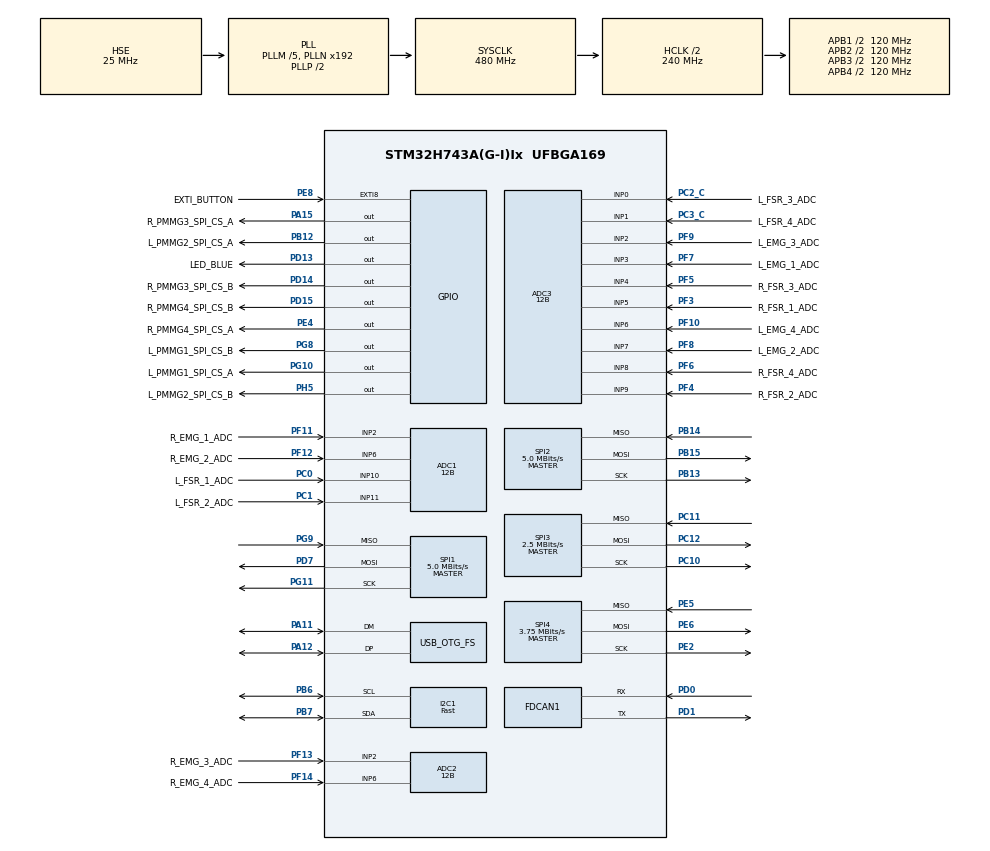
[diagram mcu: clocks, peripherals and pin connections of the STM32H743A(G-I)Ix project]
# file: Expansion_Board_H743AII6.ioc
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ADC1.Channel-1\#ChannelRegularConversion=ADC_CHANNEL_2
ADC1.Channel-2\#ChannelRegularConversion=ADC_CHANNEL_6
ADC1.Channel-3\#ChannelRegularConversion=ADC_CHANNEL_10
ADC1.Channel-4\#ChannelRegularConversion=ADC_CHANNEL_11
ADC1.ClockPrescaler=ADC_CLOCK_ASYNC_DIV16
ADC1.ClockPrescalerADC3=ADC_CLOCK_ASYNC_DIV16
ADC1.ContinuousConvMode=ENABLE
ADC1.ConversionDataManagement=ADC_CONVERSIONDATA_DMA_CIRCULAR
ADC1.EOCSelection=ADC_EOC_SEQ_CONV
ADC1.NbrOfConversion=4
ADC1.NbrOfConversionFlag=1
ADC1.OffsetNumber-1\#ChannelRegularConversion=ADC_OFFSET_NONE
ADC1.OffsetNumber-2\#ChannelRegularConversion=ADC_OFFSET_NONE
ADC1.OffsetNumber-3\#ChannelRegularConversion=ADC_OFFSET_NONE
ADC1.OffsetNumber-4\#ChannelRegularConversion=ADC_OFFSET_NONE
ADC1.OffsetSignedSaturation-1\#ChannelRegularConversion=DISABLE
ADC1.Rank-1\#ChannelRegularConversion=1
ADC1.Rank-2\#ChannelRegularConversion=2
ADC1.Rank-3\#ChannelRegularConversion=3
ADC1.Rank-4\#ChannelRegularConversion=4
ADC1.Resolution=ADC_RESOLUTION_12B
ADC1.SamplingTime-1\#ChannelRegularConversion=ADC_SAMPLETIME_32CYCLES_5
ADC1.SamplingTime-2\#ChannelRegularConversion=ADC_SAMPLETIME_32CYCLES_5
ADC1.SamplingTime-3\#ChannelRegularConversion=ADC_SAMPLETIME_32CYCLES_5
ADC1.SamplingTime-4\#ChannelRegularConversion=ADC_SAMPLETIME_32CYCLES_5
ADC1.master=1
ADC2.Channel-0\#ChannelRegularConversion=ADC_CHANNEL_2
ADC2.Channel-1\#ChannelRegularConversion=ADC_CHANNEL_6
ADC2.ClockPrescaler=ADC_CLOCK_ASYNC_DIV16
ADC2.ClockPrescalerADC3=ADC_CLOCK_ASYNC_DIV16
ADC2.ContinuousConvMode=ENABLE
ADC2.ConversionDataManagement=ADC_CONVERSIONDATA_DMA_CIRCULAR
ADC2.EOCSelection=ADC_EOC_SEQ_CONV
ADC2.NbrOfConversion=2
ADC2.NbrOfConversionFlag=1
ADC2.OffsetNumber-0\#ChannelRegularConversion=ADC_OFFSET_NONE
ADC2.OffsetNumber-1\#ChannelRegularConversion=ADC_OFFSET_NONE
ADC2.OffsetSignedSaturation-0\#ChannelRegularConversion=DISABLE
ADC2.Rank-0\#ChannelRegularConversion=1
ADC2.Rank-1\#ChannelRegularConversion=2
ADC2.Resolution=ADC_RESOLUTION_12B
ADC2.SamplingTime-0\#ChannelRegularConversion=ADC_SAMPLETIME_32CYCLES_5
ADC2.SamplingTime-1\#ChannelRegularConversion=ADC_SAMPLETIME_32CYCLES_5
ADC3.Channel-0\#ChannelRegularConversion=ADC_CHANNEL_0
ADC3.Channel-1\#ChannelRegularConversion=ADC_CHANNEL_1
ADC3.Channel-2\#ChannelRegularConversion=ADC_CHANNEL_2
ADC3.Channel-3\#ChannelRegularConversion=ADC_CHANNEL_3
ADC3.Channel-4\#ChannelRegularConversion=ADC_CHANNEL_4
ADC3.Channel-5\#ChannelRegularConversion=ADC_CHANNEL_5
ADC3.Channel-6\#ChannelRegularConversion=ADC_CHANNEL_6
ADC3.Channel-7\#ChannelRegularConversion=ADC_CHANNEL_7
ADC3.Channel-8\#ChannelRegularConversion=ADC_CHANNEL_8
ADC3.Channel-9\#ChannelRegularConversion=ADC_CHANNEL_9
ADC3.ClockPrescaler=ADC_CLOCK_ASYNC_DIV16
ADC3.ClockPrescalerADC3=ADC_CLOCK_ASYNC_DIV16
ADC3.ContinuousConvMode=ENABLE
ADC3.ConversionDataManagement=ADC_CONVERSIONDATA_DMA_CIRCULAR
ADC3.EOCSelection=ADC_EOC_SEQ_CONV
ADC3.NbrOfConversion=10
ADC3.NbrOfConversionFlag=1
ADC3.OffsetNumber-0\#ChannelRegularConversion=ADC_OFFSET_NONE
ADC3.OffsetNumber-1\#ChannelRegularConversion=ADC_OFFSET_NONE
ADC3.OffsetNumber-2\#ChannelRegularConversion=ADC_OFFSET_NONE
ADC3.OffsetNumber-3\#ChannelRegularConversion=ADC_OFFSET_NONE
ADC3.OffsetNumber-4\#ChannelRegularConversion=ADC_OFFSET_NONE
ADC3.OffsetNumber-5\#ChannelRegularConversion=ADC_OFFSET_NONE
ADC3.OffsetNumber-6\#ChannelRegularConversion=ADC_OFFSET_NONE
ADC3.OffsetNumber-7\#ChannelRegularConversion=ADC_OFFSET_NONE
ADC3.OffsetNumber-8\#ChannelRegularConversion=ADC_OFFSET_NONE
ADC3.OffsetNumber-9\#ChannelRegularConversion=ADC_OFFSET_NONE
ADC3.OffsetSignedSaturation-0\#ChannelRegularConversion=DISABLE
ADC3.Rank-0\#ChannelRegularConversion=1
ADC3.Rank-1\#ChannelRegularConversion=2
ADC3.Rank-2\#ChannelRegularConversion=3
ADC3.Rank-3\#ChannelRegularConversion=4
ADC3.Rank-4\#ChannelRegularConversion=5
ADC3.Rank-5\#ChannelRegularConversion=6
ADC3.Rank-6\#ChannelRegularConversion=7
ADC3.Rank-7\#ChannelRegularConversion=8
ADC3.Rank-8\#ChannelRegularConversion=9
ADC3.Rank-9\#ChannelRegularConversion=10
ADC3.Resolution=ADC_RESOLUTION_12B
ADC3.SamplingTime-0\#ChannelRegularConversion=ADC_SAMPLETIME_32CYCLES_5
ADC3.SamplingTime-1\#ChannelRegularConversion=ADC_SAMPLETIME_32CYCLES_5
ADC3.SamplingTime-2\#ChannelRegularConversion=ADC_SAMPLETIME_32CYCLES_5
ADC3.SamplingTime-3\#ChannelRegularConversion=ADC_SAMPLETIME_32CYCLES_5
ADC3.SamplingTime-4\#ChannelRegularConversion=ADC_SAMPLETIME_32CYCLES_5
ADC3.SamplingTime-5\#ChannelRegularConversion=ADC_SAMPLETIME_32CYCLES_5
ADC3.SamplingTime-6\#ChannelRegularConversion=ADC_SAMPLETIME_32CYCLES_5
ADC3.SamplingTime-7\#ChannelRegularConversion=ADC_SAMPLETIME_32CYCLES_5
ADC3.SamplingTime-8\#ChannelRegularConversion=ADC_SAMPLETIME_32CYCLES_5
ADC3.SamplingTime-9\#ChannelRegularConversion=ADC_SAMPLETIME_32CYCLES_5
CORTEX_M7.AccessPermission-Cortex_Memory_Protection_Unit_Region0_Settings=MPU_REGION_FULL_ACCESS
CORTEX_M7.BaseAddress-Cortex_Memory_Protection_Unit_Region0_Settings=0x30000000
CORTEX_M7.CPU_DCache=Enabled
CORTEX_M7.CPU_ICache=Enabled
CORTEX_M7.DisableExec-Cortex_Memory_Protection_Unit_Region0_Settings=MPU_INSTRUCTION_ACCESS_DISABLE
CORTEX_M7.Enable-Cortex_Memory_Protection_Unit_Region0_Settings=MPU_REGION_ENABLE
CORTEX_M7.IsShareable-Cortex_Memory_Protection_Unit_Region0_Settings=MPU_ACCESS_SHAREABLE
CORTEX_M7.MPU_Control=MPU_PRIVILEGED_DEFAULT
CORTEX_M7.Size-Cortex_Memory_Protection_Unit_Region0_Settings=MPU_REGION_SIZE_32KB
CORTEX_M7.TypeExtField-Cortex_Memory_Protection_Unit_Region0_Settings=MPU_TEX_LEVEL1
Dma.ADC1.0.Direction=DMA_PERIPH_TO_MEMORY
Dma.ADC1.0.EventEnable=DISABLE
Dma.ADC1.0.FIFOMode=DMA_FIFOMODE_DISABLE
Dma.ADC1.0.Instance=DMA1_Stream0
Dma.ADC1.0.MemDataAlignment=DMA_MDATAALIGN_HALFWORD
Dma.ADC1.0.MemInc=DMA_MINC_ENABLE
Dma.ADC1.0.Mode=DMA_CIRCULAR
Dma.ADC1.0.PeriphDataAlignment=DMA_PDATAALIGN_HALFWORD
Dma.ADC1.0.PeriphInc=DMA_PINC_DISABLE
Dma.ADC1.0.Polarity=HAL_DMAMUX_REQ_GEN_RISING
Dma.ADC1.0.Priority=DMA_PRIORITY_LOW
Dma.ADC1.0.RequestNumber=1
Dma.ADC1.0.SignalID=NONE
Dma.ADC1.0.SyncEnable=DISABLE
Dma.ADC1.0.SyncPolarity=HAL_DMAMUX_SYNC_NO_EVENT
Dma.ADC1.0.SyncRequestNumber=1
Dma.ADC1.0.SyncSignalID=NONE
Dma.ADC2.2.Direction=DMA_PERIPH_TO_MEMORY
Dma.ADC2.2.EventEnable=DISABLE
Dma.ADC2.2.FIFOMode=DMA_FIFOMODE_DISABLE
Dma.ADC2.2.Instance=DMA1_Stream2
Dma.ADC2.2.MemDataAlignment=DMA_MDATAALIGN_HALFWORD
Dma.ADC2.2.MemInc=DMA_MINC_ENABLE
Dma.ADC2.2.Mode=DMA_CIRCULAR
Dma.ADC2.2.PeriphDataAlignment=DMA_PDATAALIGN_HALFWORD
Dma.ADC2.2.PeriphInc=DMA_PINC_DISABLE
Dma.ADC2.2.Polarity=HAL_DMAMUX_REQ_GEN_RISING
Dma.ADC2.2.Priority=DMA_PRIORITY_LOW
Dma.ADC2.2.RequestNumber=1
Dma.ADC2.2.SignalID=NONE
Dma.ADC2.2.SyncEnable=DISABLE
Dma.ADC2.2.SyncPolarity=HAL_DMAMUX_SYNC_NO_EVENT
Dma.ADC2.2.SyncRequestNumber=1
Dma.ADC2.2.SyncSignalID=NONE
Dma.ADC3.3.Direction=DMA_PERIPH_TO_MEMORY
Dma.ADC3.3.EventEnable=DISABLE
Dma.ADC3.3.FIFOMode=DMA_FIFOMODE_DISABLE
Dma.ADC3.3.Instance=DMA2_Stream0
Dma.ADC3.3.MemDataAlignment=DMA_MDATAALIGN_HALFWORD
Dma.ADC3.3.MemInc=DMA_MINC_ENABLE
Dma.ADC3.3.Mode=DMA_CIRCULAR
Dma.ADC3.3.PeriphDataAlignment=DMA_PDATAALIGN_HALFWORD
Dma.ADC3.3.PeriphInc=DMA_PINC_DISABLE
Dma.ADC3.3.Polarity=HAL_DMAMUX_REQ_GEN_RISING
Dma.ADC3.3.Priority=DMA_PRIORITY_LOW
Dma.ADC3.3.RequestNumber=1
Dma.ADC3.3.SignalID=NONE
Dma.ADC3.3.SyncEnable=DISABLE
Dma.ADC3.3.SyncPolarity=HAL_DMAMUX_SYNC_NO_EVENT
Dma.ADC3.3.SyncRequestNumber=1
Dma.ADC3.3.SyncSignalID=NONE
Dma.I2C1_RX.1.Direction=DMA_PERIPH_TO_MEMORY
Dma.I2C1_RX.1.EventEnable=DISABLE
Dma.I2C1_RX.1.FIFOMode=DMA_FIFOMODE_DISABLE
Dma.I2C1_RX.1.Instance=DMA1_Stream1
Dma.I2C1_RX.1.MemDataAlignment=DMA_MDATAALIGN_BYTE
Dma.I2C1_RX.1.MemInc=DMA_MINC_ENABLE
Dma.I2C1_RX.1.Mode=DMA_NORMAL
Dma.I2C1_RX.1.PeriphDataAlignment=DMA_PDATAALIGN_BYTE
Dma.I2C1_RX.1.PeriphInc=DMA_PINC_DISABLE
Dma.I2C1_RX.1.Polarity=HAL_DMAMUX_REQ_GEN_RISING
Dma.I2C1_RX.1.Priority=DMA_PRIORITY_LOW
Dma.I2C1_RX.1.RequestNumber=1
Dma.I2C1_RX.1.SignalID=NONE
Dma.I2C1_RX.1.SyncEnable=DISABLE
Dma.I2C1_RX.1.SyncPolarity=HAL_DMAMUX_SYNC_NO_EVENT
Dma.I2C1_RX.1.SyncRequestNumber=1
Dma.I2C1_RX.1.SyncSignalID=NONE
Dma.Request0=ADC1
Dma.Request1=I2C1_RX
Dma.Request2=ADC2
Dma.Request3=ADC3
FDCAN1.AutoRetransmission=ENABLE
FDCAN1.CalculateBaudRateNominal=1000000
FDCAN1.CalculateTimeBitNominal=1000
FDCAN1.CalculateTimeQuantumNominal=125.0
FDCAN1.DataPrescaler=1
FDCAN1.DataSyncJumpWidth=4
FDCAN1.DataTimeSeg1=11
FDCAN1.DataTimeSeg2=4
FDCAN1.FrameFormat=FDCAN_FRAME_FD_BRS
FDCAN1.NominalPrescaler=10
FDCAN1.NominalSyncJumpWidth=2
FDCAN1.NominalTimeSeg1=5
FDCAN1.NominalTimeSeg2=2
FDCAN1.RxBufferSize=FDCAN_DATA_BYTES_64
FDCAN1.RxBuffersNbr=4
FDCAN1.RxFifo0ElmtSize=FDCAN_DATA_BYTES_64
FDCAN1.RxFifo0ElmtsNbr=4
FDCAN1.RxFifo1ElmtSize=FDCAN_DATA_BYTES_64
FDCAN1.RxFifo1ElmtsNbr=4
FDCAN1.StdFiltersNbr=1
FDCAN1.TransmitPause=ENABLE
FDCAN1.TxBuffersNbr=4
FDCAN1.TxElmtSize=FDCAN_DATA_BYTES_64
FDCAN1.TxEventsNbr=4
FDCAN1.TxFifoQueueElmtsNbr=16
FDCAN1.TxFifoQueueMode=FDCAN_TX_QUEUE_OPERATION
I2C1.I2C_Speed_Mode=I2C_Fast
I2C1.Timing=0x00B03FDB
Mcu.Family=STM32H7
Mcu.Name=STM32H743A(G-I)Ix
Mcu.Package=UFBGA169
NVIC.DMA1_Stream0_IRQn=true\:3\:0\:true\:false\:true\:false\:true\:true
NVIC.DMA1_Stream1_IRQn=true\:3\:0\:true\:false\:true\:false\:true\:true
NVIC.DMA1_Stream2_IRQn=true\:3\:0\:true\:false\:true\:false\:true\:true
NVIC.DMA2_Stream0_IRQn=true\:3\:0\:true\:false\:true\:false\:true\:true
NVIC.EXTI9_5_IRQn=true\:0\:0\:true\:false\:true\:true\:true\:true
NVIC.FDCAN1_IT0_IRQn=true\:0\:0\:false\:false\:true\:true\:true\:true
NVIC.FDCAN1_IT1_IRQn=true\:0\:0\:false\:false\:true\:true\:true\:true
NVIC.FDCAN_CAL_IRQn=true\:14\:0\:true\:false\:true\:true\:true\:true
NVIC.I2C1_EV_IRQn=true\:5\:0\:true\:false\:true\:true\:true\:true
NVIC.OTG_FS_IRQn=true\:0\:0\:false\:false\:true\:false\:true\:true
NVIC.PriorityGroup=NVIC_PRIORITYGROUP_4
NVIC.SPI1_IRQn=true\:1\:0\:true\:false\:true\:true\:true\:true
NVIC.SPI2_IRQn=true\:1\:0\:true\:false\:true\:true\:true\:true
NVIC.SPI3_IRQn=true\:1\:0\:true\:false\:true\:true\:true\:true
NVIC.SPI4_IRQn=true\:1\:0\:true\:false\:true\:true\:true\:true
NVIC.TIM2_IRQn=true\:2\:0\:true\:false\:true\:true\:true\:true
NVIC.TIM3_IRQn=true\:4\:0\:true\:false\:true\:true\:true\:true
NVIC.TIM6_DAC_IRQn=true\:4\:0\:true\:false\:true\:true\:true\:true
PA11.Mode=Device_Only
PA11.Signal=USB_OTG_FS_DM
PA12.Mode=Device_Only
PA12.Signal=USB_OTG_FS_DP
PA15\ (JTDI).GPIO_Label=R_PMMG3_SPI_CS_A
PA15\ (JTDI).GPIO_PuPd=GPIO_PULLUP
PA15\ (JTDI).GPIO_Speed=GPIO_SPEED_FREQ_HIGH
PA15\ (JTDI).PinState=GPIO_PIN_SET
PA15\ (JTDI).Signal=GPIO_Output
PB12.GPIO_Label=L_PMMG2_SPI_CS_A
PB12.GPIO_PuPd=GPIO_PULLUP
PB12.GPIO_Speed=GPIO_SPEED_FREQ_HIGH
PB12.PinState=GPIO_PIN_SET
PB12.Signal=GPIO_Output
PB13.Mode=Full_Duplex_Master
PB13.Signal=SPI2_SCK
PB14.Mode=Full_Duplex_Master
PB14.Signal=SPI2_MISO
PB15.Mode=Full_Duplex_Master
PB15.Signal=SPI2_MOSI
PB6.Mode=I2C
PB6.Signal=I2C1_SCL
PB7.Mode=I2C
PB7.Signal=I2C1_SDA
PC0.GPIO_Label=L_FSR_1_ADC
PC0.Signal=ADCx_INP10
PC1.GPIO_Label=L_FSR_2_ADC
PC1.Signal=ADCx_INP11
PC10.Mode=Full_Duplex_Master
PC10.Signal=SPI3_SCK
PC11.Mode=Full_Duplex_Master
PC11.Signal=SPI3_MISO
PC12.Mode=Full_Duplex_Master
PC12.Signal=SPI3_MOSI
PC14-OSC32_IN\ (OSC32_IN).Mode=LSE-External-Oscillator
PC14-OSC32_IN\ (OSC32_IN).Signal=RCC_OSC32_IN
PC15-OSC32_OUT\ (OSC32_OUT).Mode=LSE-External-Oscillator
PC15-OSC32_OUT\ (OSC32_OUT).Signal=RCC_OSC32_OUT
PC2_C.GPIO_Label=L_FSR_3_ADC
PC2_C.Mode=IN0-Single-Ended
PC2_C.Signal=ADC3_INP0
PC3_C.GPIO_Label=L_FSR_4_ADC
PC3_C.Mode=IN1-Single-Ended
PC3_C.Signal=ADC3_INP1
PD0.Mode=FDCAN_Activate
PD0.Signal=FDCAN1_RX
PD1.Mode=FDCAN_Activate
PD1.Signal=FDCAN1_TX
PD13.GPIO_Label=LED_BLUE
PD13.GPIO_PuPd=GPIO_NOPULL
PD13.GPIO_Speed=GPIO_SPEED_FREQ_LOW
PD13.PinState=GPIO_PIN_RESET
PD13.Signal=GPIO_Output
PD14.GPIO_Label=R_PMMG3_SPI_CS_B
PD14.GPIO_PuPd=GPIO_PULLUP
PD14.GPIO_Speed=GPIO_SPEED_FREQ_HIGH
PD14.PinState=GPIO_PIN_SET
PD14.Signal=GPIO_Output
PD15.GPIO_Label=R_PMMG4_SPI_CS_B
PD15.GPIO_PuPd=GPIO_PULLUP
PD15.GPIO_Speed=GPIO_SPEED_FREQ_HIGH
PD15.PinState=GPIO_PIN_SET
PD15.Signal=GPIO_Output
PD7.GPIO_Mode=GPIO_MODE_AF_PP
PD7.GPIO_PuPd=GPIO_NOPULL
PD7.GPIO_Speed=GPIO_SPEED_FREQ_LOW
PD7.Mode=Full_Duplex_Master
PD7.Signal=SPI1_MOSI
PE2.Mode=Full_Duplex_Master
PE2.Signal=SPI4_SCK
PE4.GPIO_Label=R_PMMG4_SPI_CS_A
PE4.GPIO_PuPd=GPIO_PULLUP
PE4.GPIO_Speed=GPIO_SPEED_FREQ_HIGH
PE4.PinState=GPIO_PIN_SET
PE4.Signal=GPIO_Output
PE5.Mode=Full_Duplex_Master
PE5.Signal=SPI4_MISO
PE6.Mode=Full_Duplex_Master
PE6.Signal=SPI4_MOSI
PE8.GPIO_Label=EXTI_BUTTON
PE8.GPIO_ModeDefaultEXTI=GPIO_MODE_IT_RISING
PE8.GPIO_PuPd=GPIO_NOPULL
PE8.Signal=GPXTI8
PF10.GPIO_Label=L_EMG_4_ADC
PF10.Mode=IN6-Single-Ended
PF10.Signal=ADC3_INP6
PF11.GPIO_Label=R_EMG_1_ADC
PF11.Mode=IN2-Single-Ended
PF11.Signal=ADC1_INP2
PF12.GPIO_Label=R_EMG_2_ADC
PF12.Mode=IN6-Single-Ended
PF12.Signal=ADC1_INP6
PF13.GPIO_Label=R_EMG_3_ADC
PF13.Mode=IN2-Single-Ended
PF13.Signal=ADC2_INP2
PF14.GPIO_Label=R_EMG_4_ADC
PF14.Mode=IN6-Single-Ended
PF14.Signal=ADC2_INP6
PF3.GPIO_Label=R_FSR_1_ADC
PF3.Mode=IN5-Single-Ended
PF3.Signal=ADC3_INP5
PF4.GPIO_Label=R_FSR_2_ADC
PF4.Mode=IN9-Single-Ended
PF4.Signal=ADC3_INP9
PF5.GPIO_Label=R_FSR_3_ADC
PF5.Mode=IN4-Single-Ended
PF5.Signal=ADC3_INP4
PF6.GPIO_Label=R_FSR_4_ADC
PF6.Mode=IN8-Single-Ended
PF6.Signal=ADC3_INP8
PF7.GPIO_Label=L_EMG_1_ADC
PF7.Mode=IN3-Single-Ended
PF7.Signal=ADC3_INP3
PF8.GPIO_Label=L_EMG_2_ADC
PF8.Mode=IN7-Single-Ended
PF8.Signal=ADC3_INP7
PF9.GPIO_Label=L_EMG_3_ADC
PF9.Mode=IN2-Single-Ended
PF9.Signal=ADC3_INP2
PG10.GPIO_Label=L_PMMG1_SPI_CS_A
PG10.GPIO_PuPd=GPIO_PULLUP
PG10.GPIO_Speed=GPIO_SPEED_FREQ_HIGH
PG10.PinState=GPIO_PIN_SET
PG10.Signal=GPIO_Output
PG11.GPIO_Mode=GPIO_MODE_AF_PP
PG11.GPIO_PuPd=GPIO_NOPULL
PG11.GPIO_Speed=GPIO_SPEED_FREQ_LOW
PG11.Mode=Full_Duplex_Master
PG11.Signal=SPI1_SCK
PG8.GPIO_Label=L_PMMG1_SPI_CS_B
PG8.GPIO_PuPd=GPIO_PULLUP
PG8.GPIO_Speed=GPIO_SPEED_FREQ_HIGH
PG8.PinState=GPIO_PIN_SET
PG8.Signal=GPIO_Output
PG9.GPIO_Mode=GPIO_MODE_AF_PP
PG9.GPIO_PuPd=GPIO_NOPULL
PG9.GPIO_Speed=GPIO_SPEED_FREQ_LOW
PG9.Mode=Full_Duplex_Master
PG9.Signal=SPI1_MISO
PH0-OSC_IN\ (PH0).Mode=HSE-External-Oscillator
PH0-OSC_IN\ (PH0).Signal=RCC_OSC_IN
PH1-OSC_OUT\ (PH1).Mode=HSE-External-Oscillator
PH1-OSC_OUT\ (PH1).Signal=RCC_OSC_OUT
PH5.GPIO_Label=L_PMMG2_SPI_CS_B
PH5.GPIO_PuPd=GPIO_PULLUP
PH5.GPIO_Speed=GPIO_SPEED_FREQ_HIGH
PH5.PinState=GPIO_PIN_SET
PH5.Signal=GPIO_Output
ProjectManager.HeapSize=0x200
ProjectManager.StackSize=0x400
ProjectManager.TargetToolchain=STM32CubeIDE
RCC.ADCFreq_Value=80000000
RCC.APB1Freq_Value=120000000
RCC.APB2Freq_Value=120000000
RCC.APB3Freq_Value=120000000
RCC.APB4Freq_Value=120000000
RCC.CKPERSourceSelection=RCC_CLKPSOURCE_HSE
RCC.CortexFreq_Value=480000000
RCC.D1PPRE=RCC_APB3_DIV2
RCC.D2PPRE1=RCC_APB1_DIV2
RCC.D2PPRE2=RCC_APB2_DIV2
RCC.D3PPRE=RCC_APB4_DIV2
RCC.DIVM1=5
RCC.DIVM2=5
RCC.DIVM3=5
RCC.DIVN1=192
RCC.DIVN2=80
RCC.DIVN3=192
RCC.DIVP2=5
RCC.DIVP3=5
RCC.DIVQ1=12
RCC.DIVQ3=20
RCC.DIVR3=10
RCC.HCLKFreq_Value=240000000
RCC.HPRE=RCC_HCLK_DIV2
RCC.PLLSourceVirtual=RCC_PLLSOURCE_HSE
RCC.PWR_Regulator_Voltage_Scale=PWR_REGULATOR_VOLTAGE_SCALE0
RCC.SYSCLKFreq_VALUE=480000000
RCC.SYSCLKSource=RCC_SYSCLKSOURCE_PLLCLK
RCC.USBCLockSelection=RCC_USBCLKSOURCE_HSI48
RCC.USBFreq_Value=48000000
SH.ADCx_INP10.0=ADC1_INP10,IN10-Single-Ended
SH.ADCx_INP11.0=ADC1_INP11,IN11-Single-Ended
SPI1.BaudRatePrescaler=SPI_BAUDRATEPRESCALER_16
SPI1.CalculateBaudRate=5.0 MBits/s
SPI1.DataSize=SPI_DATASIZE_8BIT
SPI1.Direction=SPI_DIRECTION_2LINES
SPI1.Mode=SPI_MODE_MASTER
SPI1.VirtualType=VM_MASTER
SPI2.BaudRatePrescaler=SPI_BAUDRATEPRESCALER_16
SPI2.CalculateBaudRate=5.0 MBits/s
SPI2.DataSize=SPI_DATASIZE_8BIT
SPI2.Direction=SPI_DIRECTION_2LINES
SPI2.Mode=SPI_MODE_MASTER
SPI2.VirtualType=VM_MASTER
SPI3.BaudRatePrescaler=SPI_BAUDRATEPRESCALER_32
SPI3.CalculateBaudRate=2.5 MBits/s
SPI3.DataSize=SPI_DATASIZE_8BIT
SPI3.Direction=SPI_DIRECTION_2LINES
SPI3.Mode=SPI_MODE_MASTER
SPI3.VirtualType=VM_MASTER
SPI4.BaudRatePrescaler=SPI_BAUDRATEPRESCALER_32
SPI4.CalculateBaudRate=3.75 MBits/s
SPI4.DataSize=SPI_DATASIZE_8BIT
SPI4.Direction=SPI_DIRECTION_2LINES
SPI4.Mode=SPI_MODE_MASTER
SPI4.VirtualType=VM_MASTER
TIM2.AutoReloadPreload=TIM_AUTORELOAD_PRELOAD_ENABLE
TIM2.Period=1000-1
TIM2.Prescaler=240-1
TIM3.AutoReloadPreload=TIM_AUTORELOAD_PRELOAD_ENABLE
TIM3.Period=1000-1
TIM3.Prescaler=240-1
TIM6.AutoReloadPreload=TIM_AUTORELOAD_PRELOAD_ENABLE
TIM6.Period=1000-1
TIM6.Prescaler=240-1
USB_DEVICE.CLASS_NAME_FS=CDC
USB_DEVICE.VirtualMode-CDC_FS=Cdc
USB_DEVICE.VirtualModeFS=Cdc_FS
USB_OTG_FS.VirtualMode=Device_Only
VP_TIM2_VS_ClockSourceINT.Mode=Internal
VP_TIM3_VS_ClockSourceINT.Mode=Internal
VP_TIM6_VS_ClockSourceINT.Mode=Enable_Timer
VP_USB_DEVICE_VS_USB_DEVICE_CDC_FS.Mode=CDC_FS
board=custom

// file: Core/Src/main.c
/* USER CODE BEGIN Header */
/**
  ******************************************************************************
  * @file           : main.c
  * @brief          : Main program body
  ******************************************************************************
  * @attention
  *
  * Copyright (c) 2024 STMicroelectronics.
  * All rights reserved.
  *
  * This software is licensed under terms that can be found in the LICENSE file
  * in the root directory of this software component.
  * If no LICENSE file comes with this software, it is provided AS-IS.
  *
  ******************************************************************************
  */
/* USER CODE END Header */
#include "main.h"
#include "adc.h"
#include "dma.h"
#include "fdcan.h"
#include "i2c.h"
#include "spi.h"
#include "tim.h"
#include "usb_device.h"
#include "gpio.h"

/* USER CODE BEGIN Includes */
#include "exppack_ctrl.h"
#include "msg_hdlr.h"
#include "algorithm_ctrl.h"
#include "module.h"

#include "usbd_cdc_if.h"
/* USER CODE END Includes */

void SystemClock_Config(void);
void PeriphCommonClock_Config(void);
static void MPU_Config(void);

int main(void)
{

  /* MPU Configuration--------------------------------------------------------*/
  MPU_Config();
/* Enable the CPU Cache */

  /* Enable I-Cache---------------------------------------------------------*/
  SCB_EnableICache();

  /* Enable D-Cache---------------------------------------------------------*/
  SCB_EnableDCache();

  /* MCU Configuration--------------------------------------------------------*/

  /* Reset of all peripherals, Initializes the Flash interface and the Systick. */
  HAL_Init();

  /* Configure the system clock */
  SystemClock_Config();

/* Configure the peripherals common clocks */
  PeriphCommonClock_Config();

  /* Initialize all configured peripherals */
  MX_GPIO_Init();
  MX_DMA_Init();
  MX_SPI2_Init();
  MX_SPI3_Init();
  MX_SPI4_Init();
  MX_ADC1_Init();
  MX_TIM2_Init();
  MX_TIM6_Init();
  MX_SPI1_Init();
  MX_I2C1_Init();
  MX_ADC3_Init();
  MX_FDCAN1_Init();
  MX_ADC2_Init();
  MX_USB_DEVICE_Init();
  MX_TIM3_Init();
  /* USER CODE BEGIN 2 */

  DOP_CreateSDOTable();
  DOP_CreatePDOTable();

  // Init Indicator - BLUE LED //
  HAL_GPIO_WritePin(GPIOD, LED_BLUE_Pin, GPIO_PIN_SET);

  /* Initialize DWT cycle counter */
  CoreDebug->DEMCR &= ~CoreDebug_DEMCR_TRCENA_Msk;
  CoreDebug->DEMCR |= CoreDebug_DEMCR_TRCENA_Msk;
  DWT->CTRL &= ~DWT_CTRL_CYCCNTENA_Msk;
  DWT->CTRL |= DWT_CTRL_CYCCNTENA_Msk;
  DWT->CYCCNT = 0;

  InitMsgHdlr();
  InitExppackCtrl();
  InitAlgorithmCtrl();

  /* USER CODE END 2 */

  /* Infinite loop */
  /* USER CODE BEGIN WHILE */
  while (1)
  {
#ifdef BUTTON_MODE
#ifdef USB_CDC_ACTIVATE
	  if (usbTxUpdate != 0) {
		  CDC_Transmit_FS((uint8_t*)usbTxBufChar, usbTxBufSize);
		  usbTxUpdate = 0;
	  }
#endif
#endif
    /* USER CODE END WHILE */

  }
}

void SystemClock_Config(void)
{
  RCC_OscInitTypeDef RCC_OscInitStruct = {0};
  RCC_ClkInitTypeDef RCC_ClkInitStruct = {0};

  /** Supply configuration update enable
  */
  HAL_PWREx_ConfigSupply(PWR_LDO_SUPPLY);

  /** Configure the main internal regulator output voltage
  */
  __HAL_PWR_VOLTAGESCALING_CONFIG(PWR_REGULATOR_VOLTAGE_SCALE1);

  while(!__HAL_PWR_GET_FLAG(PWR_FLAG_VOSRDY)) {}

  __HAL_RCC_SYSCFG_CLK_ENABLE();
  __HAL_PWR_VOLTAGESCALING_CONFIG(PWR_REGULATOR_VOLTAGE_SCALE0);

  while(!__HAL_PWR_GET_FLAG(PWR_FLAG_VOSRDY)) {}

  /** Initializes the RCC Oscillators according to the specified parameters
  * in the RCC_OscInitTypeDef structure.
  */
  RCC_OscInitStruct.OscillatorType = RCC_OSCILLATORTYPE_HSI48|RCC_OSCILLATORTYPE_HSE;
  RCC_OscInitStruct.HSEState = RCC_HSE_ON;
  RCC_OscInitStruct.HSI48State = RCC_HSI48_ON;
  RCC_OscInitStruct.PLL.PLLState = RCC_PLL_ON;
  RCC_OscInitStruct.PLL.PLLSource = RCC_PLLSOURCE_HSE;
  RCC_OscInitStruct.PLL.PLLM = 5;
  RCC_OscInitStruct.PLL.PLLN = 192;
  RCC_OscInitStruct.PLL.PLLP = 2;
  RCC_OscInitStruct.PLL.PLLQ = 12;
  RCC_OscInitStruct.PLL.PLLR = 2;
  RCC_OscInitStruct.PLL.PLLRGE = RCC_PLL1VCIRANGE_2;
  RCC_OscInitStruct.PLL.PLLVCOSEL = RCC_PLL1VCOWIDE;
  RCC_OscInitStruct.PLL.PLLFRACN = 0;
  if (HAL_RCC_OscConfig(&RCC_OscInitStruct) != HAL_OK)
  {
    Error_Handler();
  }

  /** Initializes the CPU, AHB and APB buses clocks
  */
  RCC_ClkInitStruct.ClockType = RCC_CLOCKTYPE_HCLK|RCC_CLOCKTYPE_SYSCLK
                              |RCC_CLOCKTYPE_PCLK1|RCC_CLOCKTYPE_PCLK2
                              |RCC_CLOCKTYPE_D3PCLK1|RCC_CLOCKTYPE_D1PCLK1;
  RCC_ClkInitStruct.SYSCLKSource = RCC_SYSCLKSOURCE_PLLCLK;
  RCC_ClkInitStruct.SYSCLKDivider = RCC_SYSCLK_DIV1;
  RCC_ClkInitStruct.AHBCLKDivider = RCC_HCLK_DIV2;
  RCC_ClkInitStruct.APB3CLKDivider = RCC_APB3_DIV2;
  RCC_ClkInitStruct.APB1CLKDivider = RCC_APB1_DIV2;
  RCC_ClkInitStruct.APB2CLKDivider = RCC_APB2_DIV2;
  RCC_ClkInitStruct.APB4CLKDivider = RCC_APB4_DIV2;

  if (HAL_RCC_ClockConfig(&RCC_ClkInitStruct, FLASH_LATENCY_4) != HAL_OK)
  {
    Error_Handler();
  }
}

void PeriphCommonClock_Config(void)
{
  RCC_PeriphCLKInitTypeDef PeriphClkInitStruct = {0};

  /** Initializes the peripherals clock
  */
  PeriphClkInitStruct.PeriphClockSelection = RCC_PERIPHCLK_ADC;
  PeriphClkInitStruct.PLL2.PLL2M = 5;
  PeriphClkInitStruct.PLL2.PLL2N = 80;
  PeriphClkInitStruct.PLL2.PLL2P = 5;
  PeriphClkInitStruct.PLL2.PLL2Q = 2;
  PeriphClkInitStruct.PLL2.PLL2R = 2;
  PeriphClkInitStruct.PLL2.PLL2RGE = RCC_PLL2VCIRANGE_2;
  PeriphClkInitStruct.PLL2.PLL2VCOSEL = RCC_PLL2VCOWIDE;
  PeriphClkInitStruct.PLL2.PLL2FRACN = 0;
  PeriphClkInitStruct.AdcClockSelection = RCC_ADCCLKSOURCE_PLL2;
  if (HAL_RCCEx_PeriphCLKConfig(&PeriphClkInitStruct) != HAL_OK)
  {
    Error_Handler();
  }
}

/* USER CODE BEGIN 4 */

//void HAL_GPIO_EXTI_Callback(uint16_t GPIO_Pin) {
//	if (GPIO_Pin == GPIO_PIN_8 && GPIO_EXTI_FLAG == 0) {
//		timeUSBCDC = 0;
//		GPIO_EXTI_FLAG = 1;
//	}
//
//	else if (GPIO_Pin == GPIO_PIN_8 && GPIO_EXTI_FLAG == 1) {
//		timeUSBCDC = 0;
//		GPIO_EXTI_FLAG = 0;
//	}
//}

/* USER CODE END 4 */

/* MPU Configuration */

void MPU_Config(void)
{
  MPU_Region_InitTypeDef MPU_InitStruct = {0};

  /* Disables the MPU */
  HAL_MPU_Disable();

  /** Initializes and configures the Region and the memory to be protected
  */
  MPU_InitStruct.Enable = MPU_REGION_ENABLE;
  MPU_InitStruct.Number = MPU_REGION_NUMBER0;
  MPU_InitStruct.BaseAddress = 0x30000000;
  MPU_InitStruct.Size = MPU_REGION_SIZE_32KB;
  MPU_InitStruct.SubRegionDisable = 0x0;
  MPU_InitStruct.TypeExtField = MPU_TEX_LEVEL1;
  MPU_InitStruct.AccessPermission = MPU_REGION_FULL_ACCESS;
  MPU_InitStruct.DisableExec = MPU_INSTRUCTION_ACCESS_DISABLE;
  MPU_InitStruct.IsShareable = MPU_ACCESS_SHAREABLE;
  MPU_InitStruct.IsCacheable = MPU_ACCESS_NOT_CACHEABLE;
  MPU_InitStruct.IsBufferable = MPU_ACCESS_NOT_BUFFERABLE;

  HAL_MPU_ConfigRegion(&MPU_InitStruct);
  /* Enables the MPU */
  HAL_MPU_Enable(MPU_PRIVILEGED_DEFAULT);

}

void Error_Handler(void)
{
  __disable_irq();
  while (1)
  {
  }
}
